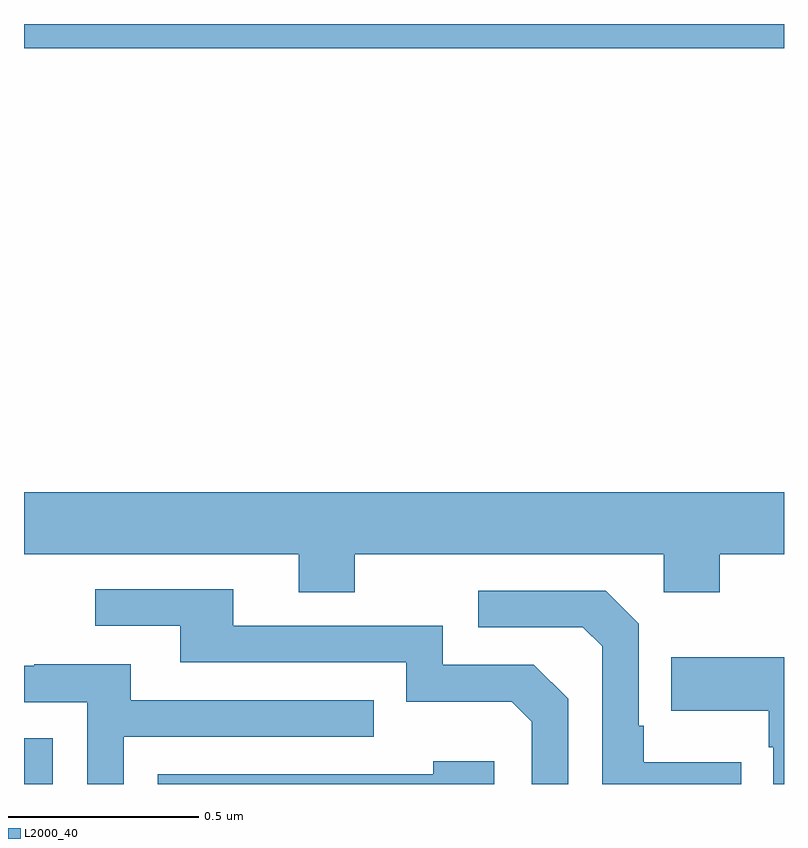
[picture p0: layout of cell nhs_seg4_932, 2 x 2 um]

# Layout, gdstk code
import gdstk
lib = gdstk.Library(unit=1e-6, precision=1e-09)
def R(c, l, rs):  # rectangles x0, y0, x1, y1
    for r in rs: c.add(gdstk.rectangle(r[:2], r[2:], *l))
def P(c, l, *ps):  # polygons
    for p in ps: c.add(gdstk.Polygon(p, *l))
L2000_40 = (2000, 40)

nhs_seg4_932 = lib.new_cell('nhs_seg4_932')
R(nhs_seg4_932, L2000_40, [(122,778.9,122.076,779.02), (122,780.836,124,780.9)])
P(nhs_seg4_932, L2000_40, [(122.871,779.504),(123.684,779.504),(123.684,779.405),(123.831,779.405),(123.831,779.504),(124,779.504),(124,779.668),(122,779.668),(122,779.504),(122.723,779.504),(122.723,779.405),(122.871,779.405)],
  [(123.432,779.124),(123.342,779.214),(123.102,779.214),(123.102,779.316),(122.551,779.316),(122.551,779.412),(122.187,779.412),(122.187,779.316),(122.411,779.316),(122.411,779.22),(123.006,779.22),(123.006,779.117),(123.283,779.117),(123.336,779.064),(123.336,778.9),(123.432,778.9)],
  [(123.887,778.957),(123.631,778.957),(123.631,779.053),(123.618,779.053),(123.618,779.322),(123.531,779.409),(123.195,779.409),(123.195,779.313),(123.471,779.313),(123.522,779.262),(123.522,778.9),(123.887,778.9)],
  [(124,779.233),(123.703,779.233),(123.703,779.093),(123.96,779.093),(123.96,778.997),(123.972,778.997),(123.972,778.9),(124,778.9)],
  [(122.262,779.025),(122.921,779.025),(122.921,779.121),(122.281,779.121),(122.281,779.215),(122.027,779.215),(122.027,779.211),(122,779.211),(122,779.115),(122.166,779.115),(122.166,778.9),(122.262,778.9)],
  [(123.238,778.96),(123.077,778.96),(123.077,778.926),(122.352,778.926),(122.352,778.9),(123.238,778.9)])

lib.write_gds('nhs_seg4_932.gds')
